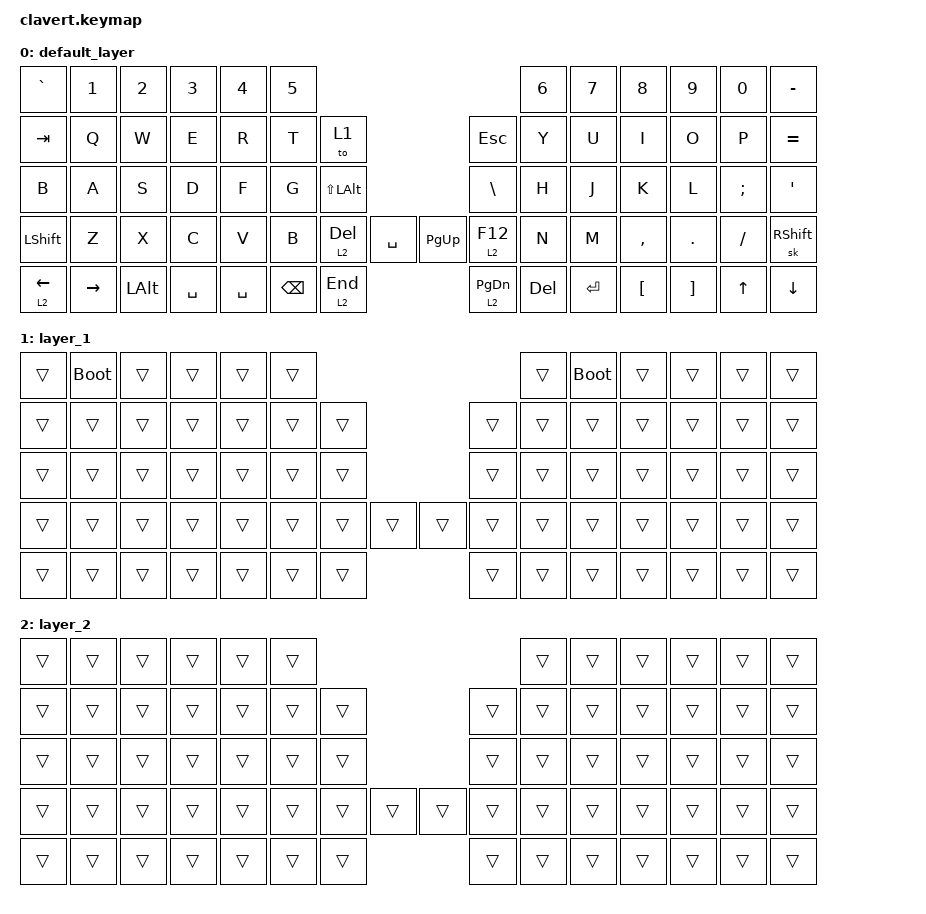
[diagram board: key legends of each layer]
/*
  * Copyright (c) 2020 The ZMK Contributors
  *
  * SPDX-License-Identifier: MIT
  */

#include <behaviors.dtsi>
#include <dt-bindings/zmk/keys.h>

#define DEFAULT 0
#define MAC 1
#define NAV 2
#define NUM 3
#define FN 4

&sk {
    release-after-ms = <2000>;
    quick-release;

    /delete-property/ ignore-modifiers;
};

/ {
    keymap {
        compatible = "zmk,keymap";

        default_layer {
            // -----------------------------------------------------------------------------------------------------------------------------------------
            // | GRAVE      | 1     | 2    | 3    | 4   | 5   |                                                  | 6   | 7   | 8   | 9   | 0   | -     |
            // | TAB        | Q     | W    | E    | R   | T   | ESC      |                            | ESC      | Y   | U   | I   | O   | P   | =     |
            // | LCTRL      | A     | S    | D    | F   | G   | LS(LALT) |                            | \        | H   | J   | K   | L   | ;   | '     |
            // | LSHFT      | Z     | X    | C    | V   | B   | LtFN DEL | HOME      |  | PG_UP       | LtFN F12 | N   | M   | ,   | .   | /   | RSHFT |
            // | LtNUM LEFT | RIGHT | LALT | LGUI | SPACE     | BSPC     | LtNAV END |  | LtNAV PG_DN | DEL      | ENTER     | [   | ]   | UP  | DOWN  |

            bindings = <
&kp GRAVE   &kp N1     &kp N2    &kp N3     &kp N4     &kp N5                                                     &kp N6   &kp N7     &kp N8     &kp N9    &kp N0    &kp MINUS
&kp TAB     &kp Q      &kp W     &kp E      &kp R      &kp T     &to 1                               &kp ESC      &kp Y    &kp U      &kp I      &kp O     &kp P     &kp EQUAL
&kp B       &kp A      &kp S     &kp D      &kp F      &kp G     &kp LS(LALT)                        &kp BSLH     &kp H    &kp J      &kp K      &kp L     &kp SEMI  &kp SQT
&kp LSHFT   &kp Z      &kp X     &kp C      &kp V      &kp B     &lt 2 DEL     &kp SPACE  &kp PG_UP  &lt 2 F12    &kp N    &kp M      &kp COMMA  &kp DOT   &kp FSLH  &sk RSHFT
&lt 2 LEFT  &kp RIGHT  &kp LALT  &kp SPACE  &kp SPACE  &kp BSPC  &lt 2 END                           &lt 2 PG_DN  &kp DEL  &kp ENTER  &kp LBKT   &kp RBKT  &kp UP    &kp DOWN
            >;
        };

        layer_1 {
            bindings = <
&trans  &bootloader  &trans  &trans  &trans  &trans                                  &trans  &bootloader  &trans  &trans  &trans  &trans
&trans  &trans       &trans  &trans  &trans  &trans  &trans                  &trans  &trans  &trans       &trans  &trans  &trans  &trans
&trans  &trans       &trans  &trans  &trans  &trans  &trans                  &trans  &trans  &trans       &trans  &trans  &trans  &trans
&trans  &trans       &trans  &trans  &trans  &trans  &trans  &trans  &trans  &trans  &trans  &trans       &trans  &trans  &trans  &trans
&trans  &trans       &trans  &trans  &trans  &trans  &trans                  &trans  &trans  &trans       &trans  &trans  &trans  &trans
            >;
        };

        layer_2 {
            bindings = <
&trans  &trans  &trans  &trans  &trans  &trans                                  &trans  &trans  &trans  &trans  &trans  &trans
&trans  &trans  &trans  &trans  &trans  &trans  &trans                  &trans  &trans  &trans  &trans  &trans  &trans  &trans
&trans  &trans  &trans  &trans  &trans  &trans  &trans                  &trans  &trans  &trans  &trans  &trans  &trans  &trans
&trans  &trans  &trans  &trans  &trans  &trans  &trans  &trans  &trans  &trans  &trans  &trans  &trans  &trans  &trans  &trans
&trans  &trans  &trans  &trans  &trans  &trans  &trans                  &trans  &trans  &trans  &trans  &trans  &trans  &trans
            >;
        };
    };
};
